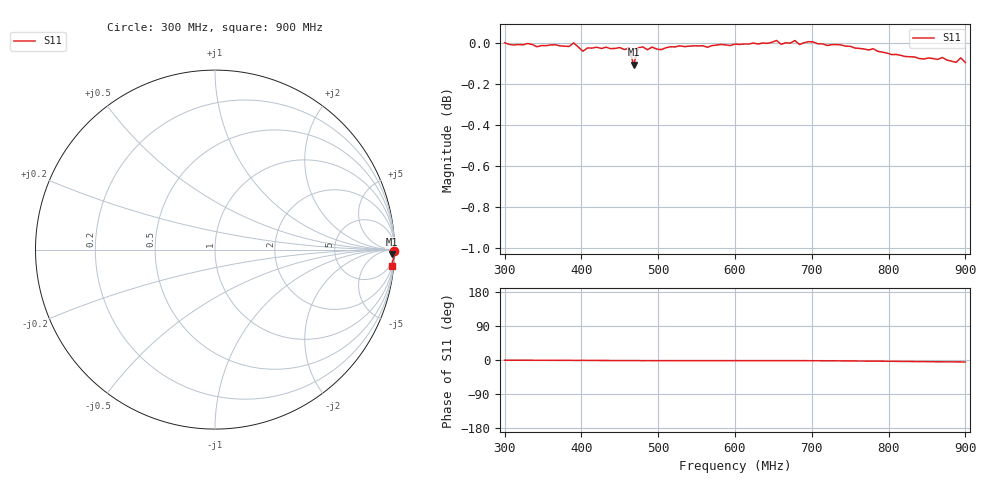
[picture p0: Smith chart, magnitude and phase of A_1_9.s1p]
# HZ S RI R 50
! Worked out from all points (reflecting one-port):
!   101 points, 300 MHz to 900 MHz, reference 50 ohm
!   lowest |S11| = -0.1 dB at 468 MHz (marker M1), VSWR 161.68, Z = 1.39e+03 - j3.05e+03 ohm
!   phase of S11 starts at -1 deg and turns -5 deg over the sweep
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3e8  0.9999 -0.0101
3.18e8  0.9989 -0.00972
3.78e8  0.9979 -0.0161
3.9e8  0.9997 -0.0181
3.96e8  0.9973 -0.0186
4.02e8  0.9951 -0.016
4.08e8  0.9968 -0.02
4.5e8  0.9969 -0.0258
4.62e8  0.9965 -0.0268
4.68e8  0.9873 -0.0268
4.74e8  0.9967 -0.0278
4.8e8  0.9972 -0.0298
4.86e8  0.9956 -0.0282
5.04e8  0.9957 -0.0303
5.28e8  0.9977 -0.0308
6e8  0.9988 -0.0288
6.54e8  1.001 -0.0304
6.6e8  0.9987 -0.0284
6.78e8  1.001 -0.0306
6.84e8  0.9985 -0.0316
6.96e8  1 -0.0322
7.26e8  0.9982 -0.0357
7.5e8  0.9971 -0.0419
8.28e8  0.9899 -0.0673
8.64e8  0.9873 -0.0819
8.82e8  0.9861 -0.0834
8.94e8  0.9875 -0.0891
9e8  0.9848 -0.0904
